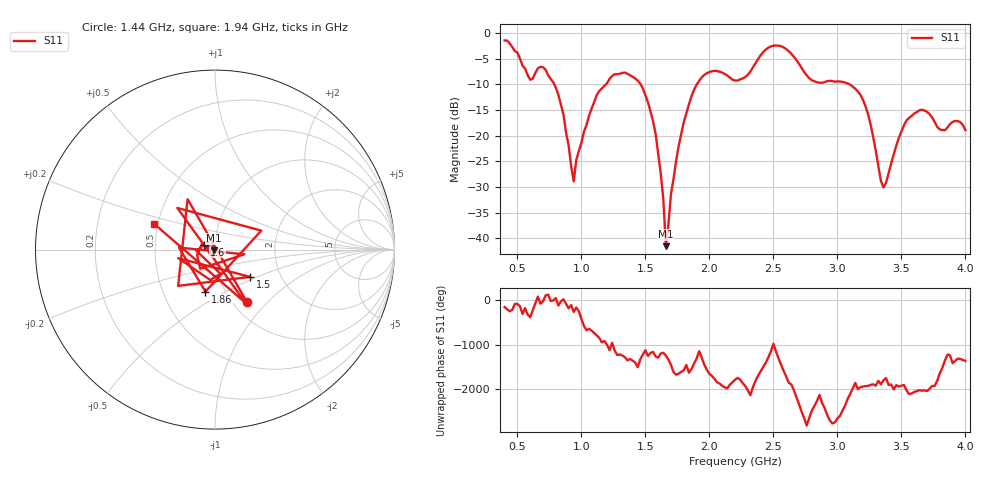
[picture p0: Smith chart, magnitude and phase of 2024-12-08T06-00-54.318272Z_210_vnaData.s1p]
!Created with skrf (http://scikit-rf.org).
# Hz S RI R 50.0
!freq ReS11 ImS11
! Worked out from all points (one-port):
!   181 points, 400 MHz to 4 GHz, reference 50 ohm
!   lowest |S11| = -41.5 dB at 1.66 GHz (marker M1), VSWR 1.02, Z = 49.2 - j0.308 ohm
!   |S11| at or under -10 dB: 787.2 MHz to 1.193 GHz (405.8 MHz wide, 41 % of centre); 1.462 GHz to 1.902 GHz (440.2 MHz wide, 26.2 % of centre); 3.092 GHz to end of sweep
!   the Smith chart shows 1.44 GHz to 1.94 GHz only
!   S11 on the Smith chart (normalised r, x): 1.44 GHz: 1.16, -0.77; 1.5 GHz: 1.40, -0.45; 1.6 GHz: 0.89, +0.05; 1.86 GHz: 0.81, -0.40; 1.94 GHz: 0.48, +0.16
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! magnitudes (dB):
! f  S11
! 400 MHz  -1.5
! 600 MHz  -9.1
! 720 MHz  -7.2
! 860 MHz  -15.9
! 940 MHz  -28.9
! 960 MHz  -24.7
! 1.12 GHz  -12.1
! 1.3 GHz  -8.0
! 1.44 GHz  -9.3
! 1.5 GHz  -12.1
! 1.6 GHz  -23.6
! 1.64 GHz  -32.4
! 1.66 GHz  -41.5
! 1.7 GHz  -31.4
! 1.76 GHz  -22.0
! 1.86 GHz  -12.4
! 1.94 GHz  -8.7
! 2.2 GHz  -9.3
! 2.48 GHz  -2.7
! 2.66 GHz  -4.7
! 2.8 GHz  -9.2
! 3.1 GHz  -10.1
! 3.22 GHz  -14.3
! 3.36 GHz  -30.1
! 3.56 GHz  -16.6
! 3.66 GHz  -15.0
! 3.8 GHz  -18.8
! 4 GHz  -18.9
